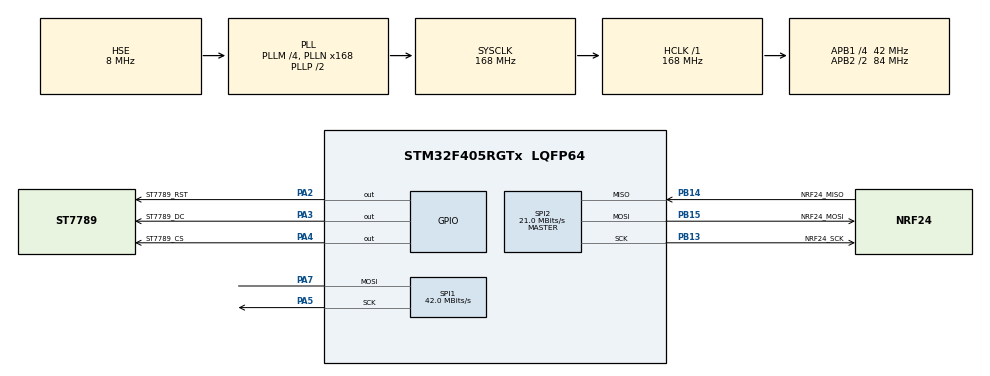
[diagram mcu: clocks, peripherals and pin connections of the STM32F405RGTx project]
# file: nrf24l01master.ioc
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Mcu.Family=STM32F4
Mcu.Name=STM32F405RGTx
Mcu.Package=LQFP64
NVIC.PriorityGroup=NVIC_PRIORITYGROUP_4
PA13.Mode=Trace_Asynchronous_SW
PA13.Signal=SYS_JTMS-SWDIO
PA14.Mode=Trace_Asynchronous_SW
PA14.Signal=SYS_JTCK-SWCLK
PA2.GPIO_Label=ST7789_RST
PA2.Signal=GPIO_Output
PA3.GPIO_Label=ST7789_DC
PA3.Signal=GPIO_Output
PA4.GPIO_Label=ST7789_CS
PA4.Signal=GPIO_Output
PA5.Mode=Simplex_Bidirectional_Master
PA5.Signal=SPI1_SCK
PA7.Mode=Simplex_Bidirectional_Master
PA7.Signal=SPI1_MOSI
PB13.GPIO_Label=NRF24_SCK
PB13.Mode=Full_Duplex_Master
PB13.Signal=SPI2_SCK
PB14.GPIO_Label=NRF24_MISO
PB14.Mode=Full_Duplex_Master
PB14.Signal=SPI2_MISO
PB15.GPIO_Label=NRF24_MOSI
PB15.Mode=Full_Duplex_Master
PB15.Signal=SPI2_MOSI
PB3.Mode=Trace_Asynchronous_SW
PB3.Signal=SYS_JTDO-SWO
PH0-OSC_IN.Mode=HSE-External-Oscillator
PH0-OSC_IN.Signal=RCC_OSC_IN
PH1-OSC_OUT.Mode=HSE-External-Oscillator
PH1-OSC_OUT.Signal=RCC_OSC_OUT
ProjectManager.HeapSize=0x200
ProjectManager.StackSize=0x400
ProjectManager.TargetToolchain=STM32CubeIDE
RCC.48MHZClocksFreq_Value=84000000
RCC.AHBFreq_Value=168000000
RCC.APB1CLKDivider=RCC_HCLK_DIV4
RCC.APB1Freq_Value=42000000
RCC.APB1TimFreq_Value=84000000
RCC.APB2CLKDivider=RCC_HCLK_DIV2
RCC.APB2Freq_Value=84000000
RCC.APB2TimFreq_Value=168000000
RCC.CortexFreq_Value=168000000
RCC.HCLKFreq_Value=168000000
RCC.HSE_VALUE=8000000
RCC.HSI_VALUE=16000000
RCC.LSE_VALUE=32768
RCC.PLLM=4
RCC.PLLN=168
RCC.PLLSourceVirtual=RCC_PLLSOURCE_HSE
RCC.SYSCLKFreq_VALUE=168000000
RCC.SYSCLKSource=RCC_SYSCLKSOURCE_PLLCLK
RCC.VCOOutputFreq_Value=336000000
SPI1.BaudRatePrescaler=SPI_BAUDRATEPRESCALER_2
SPI1.CLKPolarity=SPI_POLARITY_HIGH
SPI1.CalculateBaudRate=42.0 MBits/s
SPI1.Direction=SPI_DIRECTION_1LINE
SPI1.Mode=SPI_MODE_MASTER
SPI1.VirtualType=VM_MASTER
SPI2.CalculateBaudRate=21.0 MBits/s
SPI2.Direction=SPI_DIRECTION_2LINES
SPI2.Mode=SPI_MODE_MASTER
SPI2.VirtualType=VM_MASTER
board=custom

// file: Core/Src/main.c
/* USER CODE BEGIN Header */
/**
  ******************************************************************************
  * @file           : main.c
  * @brief          : Main program body
  ******************************************************************************
  * @attention
  *
  * <h2><center>&copy; Copyright (c) 2020 STMicroelectronics.
  * All rights reserved.</center></h2>
  *
  * This software component is licensed by ST under BSD 3-Clause license,
  * the "License"; You may not use this file except in compliance with the
  * License. You may obtain a copy of the License at:
  *                        opensource.org/licenses/BSD-3-Clause
  *
  ******************************************************************************
  */
/* USER CODE END Header */
#include "main.h"

/* USER CODE BEGIN Includes */
#include "stdio.h"
#include "string.h"
#include "nrf24l01.h"
/* USER CODE END Includes */

SPI_HandleTypeDef hspi1;
SPI_HandleTypeDef hspi2;

void SystemClock_Config(void);
static void MX_GPIO_Init(void);
static void MX_SPI1_Init(void);
static void MX_SPI2_Init(void);

int main(void)
{

  /* MCU Configuration--------------------------------------------------------*/

  /* Reset of all peripherals, Initializes the Flash interface and the Systick. */
  HAL_Init();

  /* Configure the system clock */
  SystemClock_Config();

  /* Initialize all configured peripherals */
  MX_GPIO_Init();
  MX_SPI1_Init();
  MX_SPI2_Init();
  /* USER CODE BEGIN 2 */

  nrf24l01_init(&hspi);

  /* USER CODE END 2 */

  /* Infinite loop */
  /* USER CODE BEGIN WHILE */

  uint32_t loop_count = 0;
  uint32_t then = -1;

  while (1)
  {

	uint32_t now = HAL_GetTick();
	if (now % 1000 == 0 && now != then) { // Run once every 100 ms

		char clr[] = "        ";
		char buf[10];
		sprintf(buf, "%8lu", loop_count);

		//ST7789_DrawFilledRectangle(10, 40, 220, 18, BLACK);
		ST7789_WriteString(140, 20, clr, Font_11x18, WHITE, BLACK);
		ST7789_WriteString(140, 20, buf, Font_11x18, WHITE, BLACK);

		loop_count++;
		then = now;
	}

    /* USER CODE END WHILE */

  }
}

void SystemClock_Config(void)
{
  RCC_OscInitTypeDef RCC_OscInitStruct = {0};
  RCC_ClkInitTypeDef RCC_ClkInitStruct = {0};

  /** Configure the main internal regulator output voltage
  */
  __HAL_RCC_PWR_CLK_ENABLE();
  __HAL_PWR_VOLTAGESCALING_CONFIG(PWR_REGULATOR_VOLTAGE_SCALE1);
  /** Initializes the RCC Oscillators according to the specified parameters
  * in the RCC_OscInitTypeDef structure.
  */
  RCC_OscInitStruct.OscillatorType = RCC_OSCILLATORTYPE_HSE;
  RCC_OscInitStruct.HSEState = RCC_HSE_ON;
  RCC_OscInitStruct.PLL.PLLState = RCC_PLL_ON;
  RCC_OscInitStruct.PLL.PLLSource = RCC_PLLSOURCE_HSE;
  RCC_OscInitStruct.PLL.PLLM = 4;
  RCC_OscInitStruct.PLL.PLLN = 168;
  RCC_OscInitStruct.PLL.PLLP = RCC_PLLP_DIV2;
  RCC_OscInitStruct.PLL.PLLQ = 4;
  if (HAL_RCC_OscConfig(&RCC_OscInitStruct) != HAL_OK)
  {
    Error_Handler();
  }
  /** Initializes the CPU, AHB and APB buses clocks
  */
  RCC_ClkInitStruct.ClockType = RCC_CLOCKTYPE_HCLK|RCC_CLOCKTYPE_SYSCLK
                              |RCC_CLOCKTYPE_PCLK1|RCC_CLOCKTYPE_PCLK2;
  RCC_ClkInitStruct.SYSCLKSource = RCC_SYSCLKSOURCE_PLLCLK;
  RCC_ClkInitStruct.AHBCLKDivider = RCC_SYSCLK_DIV1;
  RCC_ClkInitStruct.APB1CLKDivider = RCC_HCLK_DIV4;
  RCC_ClkInitStruct.APB2CLKDivider = RCC_HCLK_DIV2;

  if (HAL_RCC_ClockConfig(&RCC_ClkInitStruct, FLASH_LATENCY_5) != HAL_OK)
  {
    Error_Handler();
  }
}

static void MX_SPI1_Init(void)
{

  /* SPI1 parameter configuration*/
  hspi1.Instance = SPI1;
  hspi1.Init.Mode = SPI_MODE_MASTER;
  hspi1.Init.Direction = SPI_DIRECTION_1LINE;
  hspi1.Init.DataSize = SPI_DATASIZE_8BIT;
  hspi1.Init.CLKPolarity = SPI_POLARITY_HIGH;
  hspi1.Init.CLKPhase = SPI_PHASE_1EDGE;
  hspi1.Init.NSS = SPI_NSS_SOFT;
  hspi1.Init.BaudRatePrescaler = SPI_BAUDRATEPRESCALER_2;
  hspi1.Init.FirstBit = SPI_FIRSTBIT_MSB;
  hspi1.Init.TIMode = SPI_TIMODE_DISABLE;
  hspi1.Init.CRCCalculation = SPI_CRCCALCULATION_DISABLE;
  hspi1.Init.CRCPolynomial = 10;
  if (HAL_SPI_Init(&hspi1) != HAL_OK)
  {
    Error_Handler();
  }

}

static void MX_SPI2_Init(void)
{

  /* SPI2 parameter configuration*/
  hspi2.Instance = SPI2;
  hspi2.Init.Mode = SPI_MODE_MASTER;
  hspi2.Init.Direction = SPI_DIRECTION_2LINES;
  hspi2.Init.DataSize = SPI_DATASIZE_8BIT;
  hspi2.Init.CLKPolarity = SPI_POLARITY_LOW;
  hspi2.Init.CLKPhase = SPI_PHASE_1EDGE;
  hspi2.Init.NSS = SPI_NSS_SOFT;
  hspi2.Init.BaudRatePrescaler = SPI_BAUDRATEPRESCALER_2;
  hspi2.Init.FirstBit = SPI_FIRSTBIT_MSB;
  hspi2.Init.TIMode = SPI_TIMODE_DISABLE;
  hspi2.Init.CRCCalculation = SPI_CRCCALCULATION_DISABLE;
  hspi2.Init.CRCPolynomial = 10;
  if (HAL_SPI_Init(&hspi2) != HAL_OK)
  {
    Error_Handler();
  }

}

static void MX_GPIO_Init(void)
{
  GPIO_InitTypeDef GPIO_InitStruct = {0};

  /* GPIO Ports Clock Enable */
  __HAL_RCC_GPIOH_CLK_ENABLE();
  __HAL_RCC_GPIOA_CLK_ENABLE();
  __HAL_RCC_GPIOB_CLK_ENABLE();

  /*Configure GPIO pin Output Level */
  HAL_GPIO_WritePin(GPIOA, ST7789_RST_Pin|ST7789_DC_Pin|ST7789_CS_Pin, GPIO_PIN_RESET);

  /*Configure GPIO pins : ST7789_RST_Pin ST7789_DC_Pin ST7789_CS_Pin */
  GPIO_InitStruct.Pin = ST7789_RST_Pin|ST7789_DC_Pin|ST7789_CS_Pin;
  GPIO_InitStruct.Mode = GPIO_MODE_OUTPUT_PP;
  GPIO_InitStruct.Pull = GPIO_NOPULL;
  GPIO_InitStruct.Speed = GPIO_SPEED_FREQ_LOW;
  HAL_GPIO_Init(GPIOA, &GPIO_InitStruct);

}

void Error_Handler(void)
{
}

/************************ (C) COPYRIGHT STMicroelectronics *****END OF FILE****/
